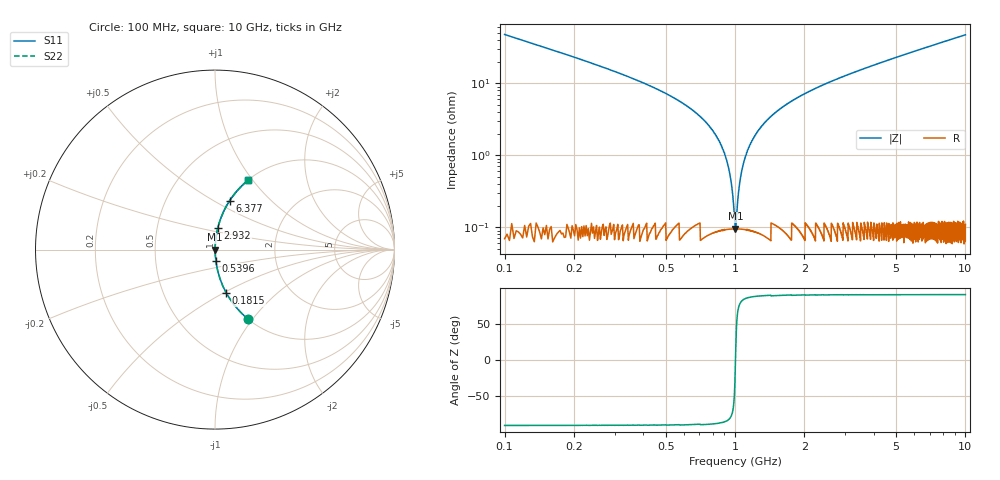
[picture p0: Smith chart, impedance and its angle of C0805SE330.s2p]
! AVX Thin Film Operation		Date: April 2012
! Description: Accu-P® Series, Thin Film, SMD, RF Capacitor
! Part Number: 08053J330FBTTR
!	100	MHz	-	10.05	GHz
!	Serial	Measurements
#	MHZ	S	MA	R	50
!	S11	S21	S12	S22
!	dB	Phase	dB	Phase	dB	Phase	dB	Phase
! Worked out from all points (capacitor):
!   4010 points, 100 MHz to 10 GHz, reference 50 ohm
!   read as one part in series: C = 33 pF near 149.4 MHz
!   lowest |Z| = 95.6 mohm at 1.004 GHz (marker M1)
!   series resonance near 1.005 GHz, so ESL is about 760 pH
!   S11 on the Smith chart (normalised r, x): 100 MHz: 1.00, -0.96; 181.5 MHz: 1.00, -0.51; 539.6 MHz: 1.00, -0.13; 2.932 GHz: 1.00, +0.25; 6.377 GHz: 1.00, +0.60; 10 GHz: 1.00, +0.95
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100  0.431 -64.4  0.902 25.5  0.902 25.5  0.431 -64.4
181.492  0.249 -75.4  0.968 14.4  0.968 14.4  0.249 -75.4
314.842  0.137 -81.8  0.99 7.9  0.99 7.9  0.137 -81.8
539.561  0.063 -85.6  0.997 3.6  0.997 3.6  0.063 -85.6
722.3  0.032 -86.6  0.999 1.8  0.999 1.8  0.032 -86.6
840.833  0.017 -86.0  0.999 1.0  0.999 1.0  0.017 -86.0
909.978  0.00957 -84.1  0.999 0.5  0.999 0.5  0.00957 -84.1
971.714  0.00334 -74.2  0.999 0.2  0.999 0.2  0.00334 -74.2
1003.816  0.000905 -6.3  0.999 0.0  0.999 0.0  0.000905 -6.3
1035.919  0.00306 72.7  0.999 -0.2  0.999 -0.2  0.00306 72.7
1077.9  0.00679 82.0  0.999 -0.4  0.999 -0.4  0.00679 82.0
1112.472  0.00982 84.2  0.999 -0.6  0.999 -0.6  0.00982 84.2
1218.658  0.019 86.2  0.999 -1.1  0.999 -1.1  0.019 86.2
1423.622  0.034 86.5  0.999 -2.0  0.999 -2.0  0.034 86.5
1752.058  0.056 85.9  0.998 -3.2  0.998 -3.2  0.056 85.9
2932.452  0.123 82.5  0.992 -7.0  0.992 -7.0  0.123 82.5
3401.646  0.147 81.2  0.988 -8.4  0.988 -8.4  0.147 81.2
5051.235  0.226 76.7  0.973 -13.0  0.973 -13.0  0.226 76.7
6377.326  0.285 73.3  0.958 -16.5  0.958 -16.5  0.285 73.3
6700.823  0.298 72.5  0.954 -17.4  0.954 -17.4  0.298 72.5
8350.412  0.366 68.4  0.93 -21.4  0.93 -21.4  0.366 68.4
10000  0.427 64.6  0.903 -25.3  0.903 -25.3  0.427 64.6
